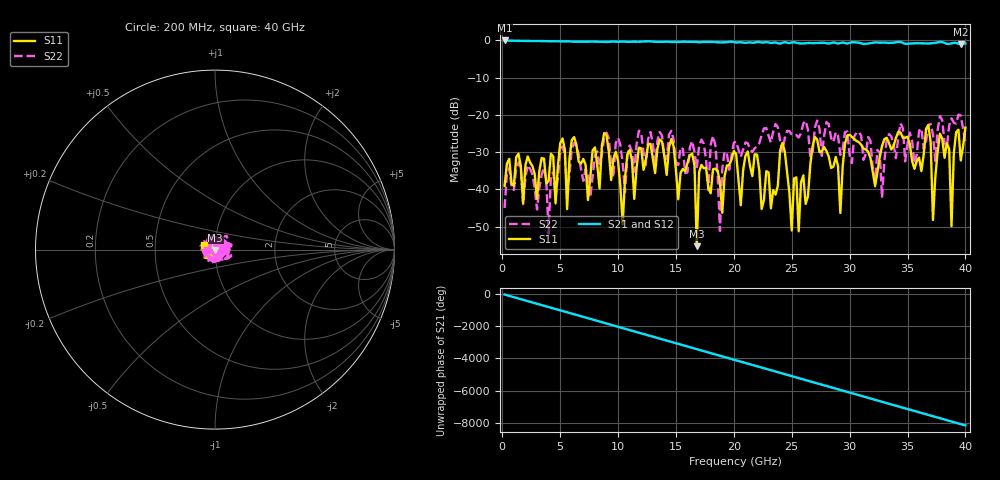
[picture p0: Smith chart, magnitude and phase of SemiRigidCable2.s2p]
# MHz MA S R 50.0
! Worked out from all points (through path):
!   200 points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, 200 MHz to 40 GHz, reference 50 ohm
!   highest |S21| = -0.05 dB at 200 MHz (marker M1); lowest = -1.1 dB at 39.6 GHz (marker M2)
!   lowest |S11| = -55.3 dB at 16.8 GHz (marker M3), VSWR 1.00, Z = 50.1 - j0.131 ohm
!   |S11| at or under -10 dB: start of sweep to end of sweep
!   |S22| runs from -51.9 to -20.0 dB; largest |S21 - S12| = 0.027
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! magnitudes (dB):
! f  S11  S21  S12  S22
! 200 MHz  -39.1  0.0  0.0  -45.0
! 7 GHz  -31.8  -0.4  -0.4  -37.7
! 10.4 GHz  -49.4  -0.3  -0.3  -33.2
! 13.6 GHz  -26.6  -0.4  -0.4  -24.6
! 16.4 GHz  -30.4  -0.4  -0.4  -27.1
! 16.8 GHz  -55.3  -0.5  -0.5  -34.3
! 18.2 GHz  -34.6  -0.5  -0.5  -25.7
! 18.8 GHz  -38.1  -0.6  -0.6  -51.2
! 20.2 GHz  -30.5  -0.6  -0.6  -27.2
! 24.2 GHz  -27.5  -0.6  -0.6  -29.8
! 25.6 GHz  -51.3  -0.8  -0.8  -26.1
! 26.8 GHz  -28.5  -0.8  -0.8  -30.3
! 29.2 GHz  -46.4  -0.7  -0.8  -30.7
! 29.8 GHz  -25.5  -0.9  -0.9  -24.5
! 32.8 GHz  -28.4  -0.6  -0.7  -42.2
! 33.4 GHz  -27.6  -0.7  -0.8  -25.2
! 36.8 GHz  -22.7  -0.9  -0.9  -22.7
! 37.2 GHz  -48.2  -0.7  -0.8  -25.3
! 37.8 GHz  -25.1  -0.4  -0.4  -20.3
! 38.8 GHz  -49.9  -0.8  -0.8  -21.0
! 39.6 GHz  -32.3  -1.1  -1.1  -20.2
! 40 GHz  -23.4  -0.8  -0.7  -27.3
